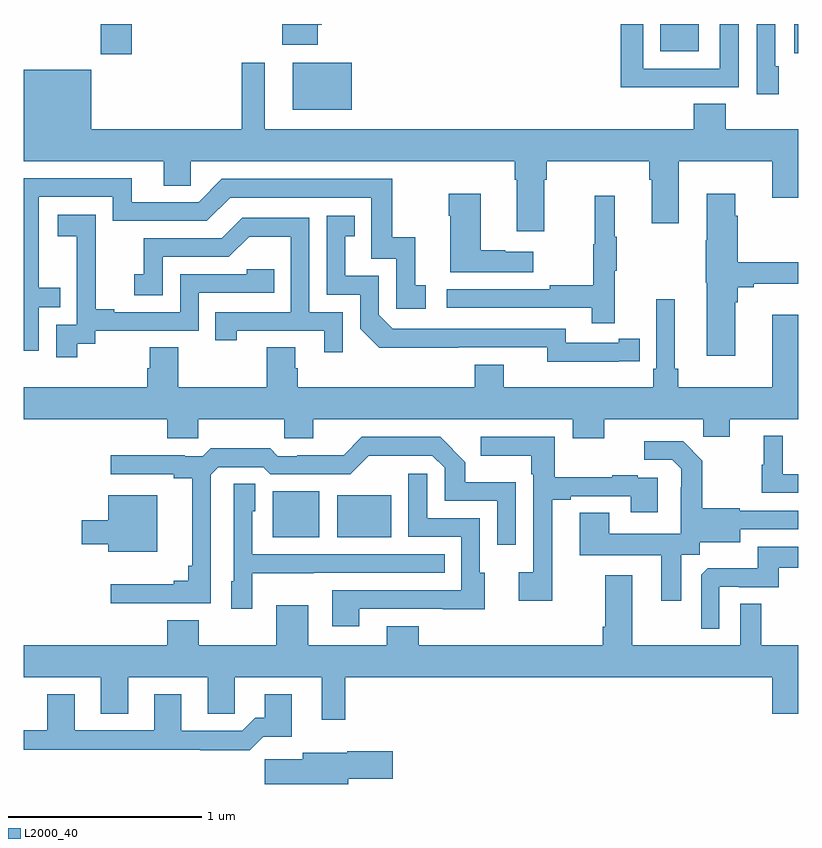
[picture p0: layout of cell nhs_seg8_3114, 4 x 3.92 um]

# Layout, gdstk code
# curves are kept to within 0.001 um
import gdstk
lib = gdstk.Library(unit=1e-6, precision=1e-09)
def R(c, l, rs):  # rectangles x0, y0, x1, y1
    for r in rs: c.add(gdstk.rectangle(r[:2], r[2:], *l))
def P(c, l, *ps):  # polygons
    for p in ps: c.add(gdstk.Polygon(p, *l))
L2000_40 = (2000, 40)

nhs_seg8_3114 = lib.new_cell('nhs_seg8_3114')
R(nhs_seg8_3114, L2000_40, [(306.287,1089.251,306.526,1089.487), (306.62,1089.251,306.898,1089.466), (306.389,1091.456,306.694,1091.701), (305.398,1091.745,305.558,1091.9), (308.978,1091.75,309,1091.9), (308.288,1091.759,308.485,1091.9)])
P(nhs_seg8_3114, L2000_40, [(308.375,1091.574),(308.691,1091.574),(308.691,1091.9),(308.595,1091.9),(308.595,1091.67),(308.199,1091.67),(308.199,1091.9),(308.083,1091.9),(308.083,1091.573),(308.375,1091.573)],
  [(308.899,1091.682),(308.88,1091.682),(308.88,1091.9),(308.784,1091.9),(308.784,1091.538),(308.899,1091.538)],
  [(306.519,1091.896),(306.539,1091.896),(306.539,1091.9),(306.336,1091.9),(306.336,1091.792),(306.519,1091.792)],
  [(307.535,1091.096),(307.547,1091.096),(307.547,1090.83),(307.687,1090.83),(307.687,1091.096),(307.7,1091.096),(307.7,1091.192),(308.231,1091.192),(308.231,1091.096),(308.243,1091.096),(308.243,1090.872),(308.383,1090.872),(308.383,1091.192),(308.864,1091.192),(308.864,1091.004),(309,1091.004),(309,1091.356),(308.624,1091.356),(308.624,1091.489),(308.459,1091.489),(308.459,1091.356),(306.244,1091.356),(306.244,1091.701),(306.127,1091.701),(306.127,1091.356),(305.35,1091.356),(305.35,1091.665),(305,1091.665),(305,1091.192),(305.723,1091.192),(305.723,1091.065),(305.862,1091.065),(305.862,1091.192),(307.535,1091.192)],
  [(305.079,1090.437),(305.189,1090.437),(305.189,1090.538),(305.079,1090.538),(305.079,1091.007),(305.46,1091.007),(305.46,1090.884),(305.946,1090.884),(306.066,1091.004),(306.795,1091.004),(306.795,1090.689),(306.924,1090.689),(306.924,1090.431),(307.075,1090.431),(307.075,1090.551),(307.022,1090.551),(307.022,1090.798),(306.904,1090.798),(306.904,1091.1),(306.024,1091.1),(305.904,1090.98),(305.557,1090.98),(305.557,1091.103),(305,1091.103),(305,1090.212),(305.079,1090.212)],
  [(307.63,1090.723),(307.487,1090.723),(307.487,1090.733),(307.36,1090.733),(307.36,1091.023),(307.195,1091.023),(307.195,1090.91),(307.202,1090.91),(307.202,1090.619),(307.63,1090.619)],
  [(308.674,1090.463),(308.687,1090.463),(308.687,1090.54),(308.77,1090.54),(308.77,1090.559),(309,1090.559),(309,1090.669),(308.687,1090.669),(308.687,1090.91),(308.674,1090.91),(308.674,1091.023),(308.528,1091.023),(308.528,1090.784),(308.521,1090.784),(308.521,1090.563),(308.528,1090.563),(308.528,1090.188),(308.674,1090.188)],
  [(308.051,1090.627),(308.062,1090.627),(308.062,1090.801),(308.051,1090.801),(308.051,1091.014),(307.948,1091.014),(307.948,1090.764),(307.941,1090.764),(307.941,1090.55),(307.717,1090.55),(307.717,1090.53),(307.185,1090.53),(307.185,1090.434),(307.933,1090.434),(307.933,1090.356),(308.051,1090.356)],
  [(305.278,1090.249),(305.37,1090.249),(305.37,1090.317),(305.904,1090.317),(305.904,1090.512),(306.293,1090.512),(306.293,1090.635),(306.153,1090.635),(306.153,1090.608),(305.808,1090.608),(305.808,1090.413),(305.467,1090.413),(305.467,1090.426),(305.372,1090.426),(305.372,1090.709),(305.373,1090.709),(305.373,1090.915),(305.175,1090.915),(305.175,1090.805),(305.273,1090.805),(305.273,1090.577),(305.274,1090.577),(305.274,1090.347),(305.169,1090.347),(305.169,1090.179),(305.278,1090.179)],
  [(308.072,1090.158),(308.18,1090.158),(308.18,1090.274),(308.072,1090.274),(308.072,1090.254),(307.8,1090.254),(307.8,1090.326),(306.906,1090.326),(306.834,1090.398),(306.834,1090.599),(306.661,1090.599),(306.661,1090.803),(306.71,1090.803),(306.71,1090.909),(306.564,1090.909),(306.564,1090.503),(306.738,1090.503),(306.738,1090.326),(306.836,1090.229),(307.704,1090.23),(307.704,1090.157)],
  [(306.648,1090.413),(306.474,1090.413),(306.474,1090.899),(306.128,1090.899),(306.023,1090.794),(305.62,1090.794),(305.62,1090.609),(305.571,1090.609),(305.571,1090.5),(305.718,1090.5),(305.718,1090.698),(306.06,1090.698),(306.164,1090.802),(306.378,1090.802),(306.378,1090.413),(305.989,1090.413),(305.989,1090.266),(306.1,1090.266),(306.1,1090.317),(306.551,1090.317),(306.551,1090.206),(306.648,1090.206)],
  [(307.999,1089.86),(308.509,1089.86),(308.509,1089.77),(308.647,1089.77),(308.647,1089.86),(309,1089.86),(309,1090.399),(308.864,1090.399),(308.864,1090.024),(308.381,1090.024),(308.381,1090.12),(308.362,1090.12),(308.362,1090.48),(308.265,1090.48),(308.265,1090.12),(308.252,1090.12),(308.252,1090.024),(307.48,1090.024),(307.48,1090.141),(307.328,1090.141),(307.328,1090.024),(306.416,1090.024),(306.416,1090.122),(306.403,1090.122),(306.403,1090.232),(306.256,1090.232),(306.256,1090.024),(305.799,1090.024),(305.799,1090.232),(305.651,1090.232),(305.651,1090.122),(305.639,1090.122),(305.639,1090.024),(305,1090.024),(305,1089.86),(305.741,1089.86),(305.741,1089.762),(305.901,1089.762),(305.901,1089.86),(306.346,1089.86),(306.346,1089.762),(306.496,1089.762),(306.496,1089.86),(307.835,1089.86),(307.835,1089.761),(307.999,1089.761)],
  [(309,1089.576),(308.92,1089.576),(308.92,1089.775),(308.822,1089.775),(308.822,1089.624),(308.811,1089.624),(308.811,1089.48),(309,1089.48)],
  [(305.967,1089.573),(306.006,1089.612),(306.237,1089.612),(306.273,1089.576),(306.687,1089.576),(306.782,1089.671),(307.11,1089.672),(307.173,1089.609),(307.173,1089.438),(307.446,1089.438),(307.446,1089.21),(307.542,1089.21),(307.542,1089.535),(307.281,1089.535),(307.281,1089.638),(307.15,1089.768),(306.747,1089.768),(306.653,1089.674),(306.412,1089.674),(306.412,1089.669),(306.312,1089.669),(306.273,1089.709),(305.965,1089.709),(305.925,1089.669),(305.831,1089.669),(305.831,1089.674),(305.451,1089.674),(305.451,1089.576),(305.774,1089.576),(305.774,1089.554),(305.87,1089.554),(305.87,1089.103),(305.851,1089.103),(305.851,1089.026),(305.774,1089.026),(305.774,1089.007),(305.451,1089.007),(305.451,1088.91),(305.967,1088.91)],
  [(307.729,1089.444),(307.825,1089.444),(307.825,1089.462),(308.135,1089.462),(308.135,1089.378),(308.275,1089.378),(308.275,1089.558),(308.171,1089.558),(308.171,1089.571),(308.039,1089.571),(308.039,1089.56),(307.741,1089.56),(307.741,1089.768),(307.359,1089.768),(307.359,1089.671),(307.62,1089.671),(307.62,1089.575),(307.632,1089.575),(307.632,1089.07),(307.557,1089.07),(307.557,1088.922),(307.729,1088.922)],
  [(308.395,1089.16),(308.49,1089.16),(308.49,1089.224),(308.701,1089.224),(308.701,1089.291),(309,1089.291),(309,1089.387),(308.697,1089.387),(308.697,1089.4),(308.505,1089.4),(308.505,1089.645),(308.405,1089.745),(308.205,1089.745),(308.205,1089.651),(308.349,1089.651),(308.396,1089.604),(308.396,1089.509),(308.394,1089.509),(308.394,1089.268),(308.023,1089.268),(308.023,1089.377),(307.871,1089.377),(307.871,1089.158),(308.291,1089.158),(308.291,1088.922),(308.395,1088.922)],
  [(306.733,1088.88),(307.163,1088.88),(307.163,1088.879),(307.381,1088.879),(307.381,1089.066),(307.356,1089.066),(307.356,1089.348),(307.083,1089.348),(307.083,1089.577),(306.987,1089.577),(306.987,1089.252),(307.26,1089.252),(307.26,1088.976),(306.593,1088.976),(306.593,1088.79),(306.733,1088.79)],
  [(306.18,1089.065),(306.497,1089.065),(306.497,1089.066),(307.175,1089.066),(307.175,1089.162),(306.18,1089.162),(306.18,1089.384),(306.196,1089.384),(306.196,1089.527),(306.084,1089.527),(306.084,1089.024),(306.071,1089.024),(306.071,1088.88),(306.18,1088.88)],
  [(305.689,1089.466),(305.438,1089.466),(305.438,1089.337),(305.301,1089.337),(305.301,1089.215),(305.438,1089.215),(305.438,1089.176),(305.689,1089.176)],
  [(308.592,1088.994),(308.692,1088.994),(308.692,1088.991),(308.9,1088.991),(308.9,1089.093),(309,1089.093),(309,1089.201),(308.79,1089.201),(308.79,1089.089),(308.531,1089.089),(308.499,1089.057),(308.499,1088.777),(308.592,1088.777)],
  [(305,1088.528),(305.399,1088.528),(305.399,1088.338),(305.539,1088.338),(305.539,1088.528),(305.951,1088.528),(305.951,1088.338),(306.09,1088.338),(306.09,1088.528),(306.539,1088.528),(306.539,1088.307),(306.661,1088.307),(306.661,1088.528),(308.864,1088.528),(308.864,1088.34),(309,1088.34),(309,1088.692),(308.809,1088.692),(308.809,1088.906),(308.7,1088.906),(308.7,1088.692),(308.143,1088.692),(308.143,1089.055),(308.003,1089.055),(308.003,1088.788),(307.991,1088.788),(307.991,1088.692),(307.039,1088.692),(307.039,1088.791),(306.875,1088.791),(306.875,1088.692),(306.469,1088.692),(306.469,1088.899),(306.305,1088.899),(306.305,1088.692),(305.905,1088.692),(305.905,1088.821),(305.741,1088.821),(305.741,1088.692),(305,1088.692)],
  [(306.236,1088.219),(306.385,1088.219),(306.385,1088.44),(306.245,1088.44),(306.245,1088.317),(306.196,1088.317),(306.129,1088.25),(305.815,1088.25),(305.815,1088.44),(305.675,1088.44),(305.675,1088.253),(305.263,1088.253),(305.263,1088.44),(305.123,1088.44),(305.123,1088.253),(305,1088.253),(305,1088.152),(305.911,1088.152),(305.911,1088.15),(306.167,1088.15)],
  [(306.676,1088.003),(306.907,1088.003),(306.907,1088.145),(306.672,1088.145),(306.672,1088.137),(306.44,1088.137),(306.44,1088.105),(306.246,1088.105),(306.246,1087.976),(306.676,1087.976)])

lib.write_gds('nhs_seg8_3114.gds')
